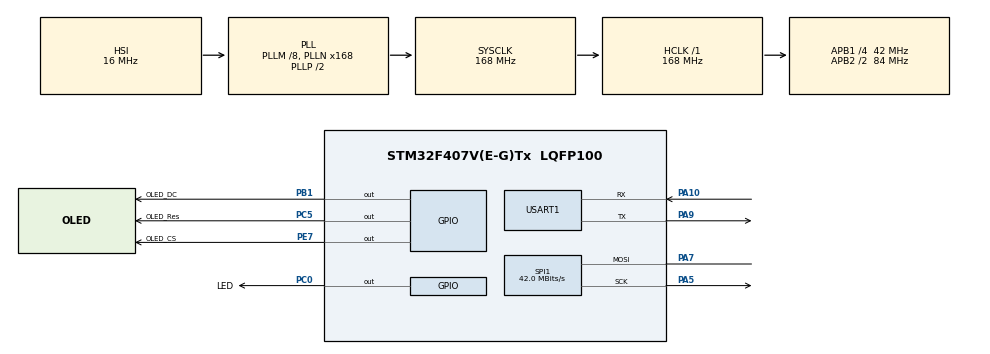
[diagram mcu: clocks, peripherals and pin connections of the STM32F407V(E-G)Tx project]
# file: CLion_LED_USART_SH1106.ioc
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Mcu.Family=STM32F4
Mcu.Name=STM32F407V(E-G)Tx
Mcu.Package=LQFP100
NVIC.PriorityGroup=NVIC_PRIORITYGROUP_4
PA10.Mode=Asynchronous
PA10.Signal=USART1_RX
PA13.Mode=Serial_Wire
PA13.Signal=SYS_JTMS-SWDIO
PA14.Mode=Serial_Wire
PA14.Signal=SYS_JTCK-SWCLK
PA5.Mode=Simplex_Bidirectional_Master
PA5.Signal=SPI1_SCK
PA7.Mode=Simplex_Bidirectional_Master
PA7.Signal=SPI1_MOSI
PA9.Mode=Asynchronous
PA9.Signal=USART1_TX
PB1.GPIO_Label=OLED_DC
PB1.Signal=GPIO_Output
PC0.GPIO_Label=LED
PC0.Signal=GPIO_Output
PC5.GPIO_Label=OLED_Res
PC5.Signal=GPIO_Output
PE7.GPIO_Label=OLED_CS
PE7.Signal=GPIO_Output
PH0-OSC_IN.Mode=HSE-External-Oscillator
PH0-OSC_IN.Signal=RCC_OSC_IN
PH1-OSC_OUT.Mode=HSE-External-Oscillator
PH1-OSC_OUT.Signal=RCC_OSC_OUT
ProjectManager.HeapSize=0x200
ProjectManager.StackSize=0x400
ProjectManager.TargetToolchain=STM32CubeIDE
RCC.48MHZClocksFreq_Value=84000000
RCC.AHBFreq_Value=168000000
RCC.APB1CLKDivider=RCC_HCLK_DIV4
RCC.APB1Freq_Value=42000000
RCC.APB1TimFreq_Value=84000000
RCC.APB2CLKDivider=RCC_HCLK_DIV2
RCC.APB2Freq_Value=84000000
RCC.APB2TimFreq_Value=168000000
RCC.CortexFreq_Value=168000000
RCC.HCLKFreq_Value=168000000
RCC.HSE_VALUE=8000000
RCC.HSI_VALUE=16000000
RCC.LSE_VALUE=32768
RCC.PLLM=8
RCC.PLLN=168
RCC.SYSCLKFreq_VALUE=168000000
RCC.SYSCLKSource=RCC_SYSCLKSOURCE_PLLCLK
RCC.VCOOutputFreq_Value=336000000
SPI1.CalculateBaudRate=42.0 MBits/s
SPI1.Direction=SPI_DIRECTION_1LINE
SPI1.Mode=SPI_MODE_MASTER
SPI1.VirtualType=VM_MASTER
USART1.VirtualMode=VM_ASYNC
board=custom

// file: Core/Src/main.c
/* USER CODE BEGIN Header */
/**
 ******************************************************************************
 * @file           : main.c
 * @brief          : Main program body
 ******************************************************************************
 * @attention
 *
 * Copyright (c) 2024 STMicroelectronics.
 * All rights reserved.
 *
 * This software is licensed under terms that can be found in the LICENSE file
 * in the root directory of this software component.
 * If no LICENSE file comes with this software, it is provided AS-IS.
 *
 ******************************************************************************
 */
/* USER CODE END Header */
#include "main.h"

#include "gpio.h"
#include "spi.h"
#include "usart.h"

/* USER CODE BEGIN Includes */
#include <stdio.h>

#include "bitmap_chiikawa.h"
#include "bitmap_nyancat.h"
#include "sh1106.h"
/* USER CODE END Includes */

void SystemClock_Config(void);

int main(void) {

    /* MCU Configuration--------------------------------------------------------*/

    /* Reset of all peripherals, Initializes the Flash interface and the Systick. */
    HAL_Init();

    /* Configure the system clock */
    SystemClock_Config();

    /* Initialize all configured peripherals */
    MX_GPIO_Init();
    MX_SPI1_Init();
    MX_USART1_UART_Init();
    /* USER CODE BEGIN 2 */
    SH1106_Init();
    /* USER CODE END 2 */

    /* Infinite loop */
    /* USER CODE BEGIN WHILE */
    while (1) {
        for (uint8_t i = 0; i < chiikawaallArray_LEN; i++) {
            SH1106_Fill(Black);
            SH1106_DrawBitmap(0, 0, chiikawaallArray[i], 128, 64, White);
            HAL_GPIO_TogglePin(LED_GPIO_Port, LED_Pin);
            HAL_Delay(20);
            SH1106_UpdateScreen();
            printf("this is the NO. %d frame for chiikawaa\r\n", i);
        }
        for (uint8_t i = 0; i < 14; i++) {
            SH1106_Fill(Black);
            SH1106_DrawBitmap(0, 0, nyanCat[i], 128, 64, White);
            HAL_GPIO_TogglePin(LED_GPIO_Port, LED_Pin);
            HAL_Delay(20);
            SH1106_UpdateScreen();
            printf("this is the NO. %d frame for nyancat\r\n", i);
        }
        /* USER CODE END WHILE */

    }
}

void SystemClock_Config(void) {
    RCC_OscInitTypeDef RCC_OscInitStruct = {0};
    RCC_ClkInitTypeDef RCC_ClkInitStruct = {0};

    /** Configure the main internal regulator output voltage
     */
    __HAL_RCC_PWR_CLK_ENABLE();
    __HAL_PWR_VOLTAGESCALING_CONFIG(PWR_REGULATOR_VOLTAGE_SCALE1);

    /** Initializes the RCC Oscillators according to the specified parameters
     * in the RCC_OscInitTypeDef structure.
     */
    RCC_OscInitStruct.OscillatorType = RCC_OSCILLATORTYPE_HSI;
    RCC_OscInitStruct.HSIState = RCC_HSI_ON;
    RCC_OscInitStruct.HSICalibrationValue = RCC_HSICALIBRATION_DEFAULT;
    RCC_OscInitStruct.PLL.PLLState = RCC_PLL_ON;
    RCC_OscInitStruct.PLL.PLLSource = RCC_PLLSOURCE_HSI;
    RCC_OscInitStruct.PLL.PLLM = 8;
    RCC_OscInitStruct.PLL.PLLN = 168;
    RCC_OscInitStruct.PLL.PLLP = RCC_PLLP_DIV2;
    RCC_OscInitStruct.PLL.PLLQ = 4;
    if (HAL_RCC_OscConfig(&RCC_OscInitStruct) != HAL_OK) {
        Error_Handler();
    }

    /** Initializes the CPU, AHB and APB buses clocks
     */
    RCC_ClkInitStruct.ClockType = RCC_CLOCKTYPE_HCLK | RCC_CLOCKTYPE_SYSCLK | RCC_CLOCKTYPE_PCLK1 | RCC_CLOCKTYPE_PCLK2;
    RCC_ClkInitStruct.SYSCLKSource = RCC_SYSCLKSOURCE_PLLCLK;
    RCC_ClkInitStruct.AHBCLKDivider = RCC_SYSCLK_DIV1;
    RCC_ClkInitStruct.APB1CLKDivider = RCC_HCLK_DIV4;
    RCC_ClkInitStruct.APB2CLKDivider = RCC_HCLK_DIV2;

    if (HAL_RCC_ClockConfig(&RCC_ClkInitStruct, FLASH_LATENCY_5) != HAL_OK) {
        Error_Handler();
    }
}

void Error_Handler(void) {
    __disable_irq();
    while (1) {
    }
}
